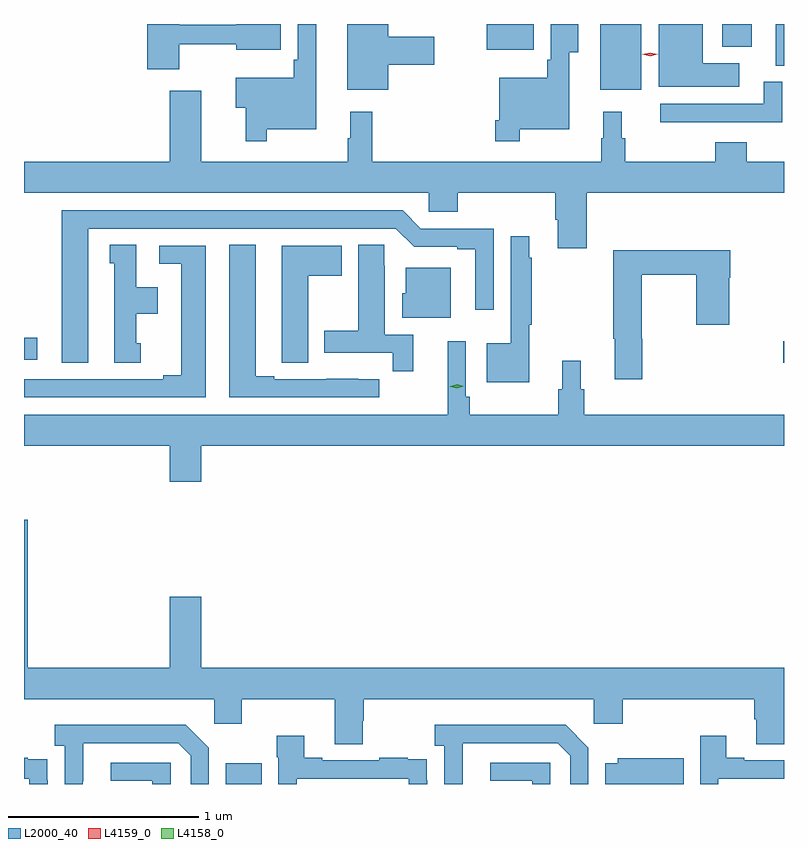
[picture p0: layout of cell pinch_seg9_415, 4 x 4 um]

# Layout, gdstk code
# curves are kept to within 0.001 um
import gdstk
lib = gdstk.Library(unit=1e-6, precision=1e-09)
def R(c, l, rs):  # rectangles x0, y0, x1, y1
    for r in rs: c.add(gdstk.rectangle(r[:2], r[2:], *l))
def P(c, l, *ps):  # polygons
    for p in ps: c.add(gdstk.Polygon(p, *l))
L2000_40 = (2000, 40)
L4158_0 = (4158, 0)
L4159_0 = (4159, 0)

pinch_seg9_415 = lib.new_cell('pinch_seg9_415')
R(pinch_seg9_415, L2000_40, [(213.254,1214.621,213.442,1214.731), (216.188,1216.839,216.192,1216.951), (212.192,1216.854,212.263,1216.97), (215.225,1218.275,215.44,1218.621), (216.149,1218.401,216.192,1218.621), (214.628,1218.485,214.876,1218.621), (215.867,1218.5,216.022,1218.621)])
P(pinch_seg9_415, L2000_40, [(215.956,1218.415),(215.764,1218.415),(215.764,1218.621),(215.534,1218.621),(215.534,1218.29),(215.956,1218.29)],
  [(214.801,1218.068),(215.062,1218.068),(215.062,1218.473),(215.11,1218.473),(215.11,1218.621),(214.965,1218.621),(214.965,1218.433),(214.945,1218.433),(214.945,1218.337),(214.692,1218.337),(214.692,1218.115),(214.672,1218.115),(214.672,1218.003),(214.801,1218.003)],
  [(213.469,1218.068),(213.73,1218.068),(213.73,1218.621),(213.633,1218.621),(213.633,1218.433),(213.613,1218.433),(213.613,1218.337),(213.306,1218.337),(213.306,1218.179),(213.358,1218.179),(213.358,1218.003),(213.469,1218.003)],
  [(214.108,1218.407),(214.351,1218.407),(214.351,1218.554),(214.108,1218.554),(214.108,1218.621),(213.893,1218.621),(213.893,1218.275),(214.108,1218.275)],
  [(213.01,1218.514),(213.308,1218.514),(213.308,1218.485),(213.544,1218.485),(213.544,1218.621),(213.308,1218.621),(213.308,1218.617),(213.01,1218.617),(213.01,1218.621),(212.84,1218.621),(212.84,1218.384),(213.01,1218.384)],
  [(216.184,1218.316),(216.086,1218.316),(216.086,1218.201),(215.541,1218.201),(215.541,1218.105),(216.184,1218.105)],
  [(215.153,1217.732),(216.192,1217.732),(216.192,1217.896),(215.996,1217.896),(215.996,1217.998),(215.831,1217.998),(215.831,1217.896),(215.357,1217.896),(215.357,1218.02),(215.339,1218.02),(215.339,1218.16),(215.24,1218.16),(215.24,1218.02),(215.229,1218.02),(215.229,1217.896),(214.025,1217.896),(214.025,1218.16),(213.908,1218.16),(213.908,1218.02),(213.897,1218.02),(213.897,1217.896),(213.124,1217.896),(213.124,1218.271),(212.96,1218.271),(212.96,1217.896),(212.192,1217.896),(212.192,1217.732),(214.323,1217.732),(214.323,1217.634),(214.475,1217.634),(214.475,1217.732),(214.988,1217.732),(214.988,1217.59),(215,1217.59),(215,1217.442),(215.153,1217.442)],
  [(212.53,1217.544),(214.149,1217.544),(214.245,1217.448),(214.472,1217.448),(214.472,1217.436),(214.568,1217.436),(214.568,1217.118),(214.665,1217.118),(214.665,1217.544),(214.281,1217.544),(214.185,1217.64),(212.39,1217.64),(212.39,1216.839),(212.53,1216.839)],
  [(214.852,1217.038),(214.864,1217.038),(214.864,1217.39),(214.852,1217.39),(214.852,1217.503),(214.755,1217.503),(214.755,1216.942),(214.628,1216.942),(214.628,1216.736),(214.852,1216.736)],
  [(214.063,1216.752),(213.95,1216.752),(213.95,1216.753),(213.784,1216.753),(213.784,1216.752),(213.508,1216.752),(213.508,1216.767),(213.412,1216.767),(213.412,1217.459),(213.272,1217.459),(213.272,1216.656),(214.063,1216.656)],
  [(214.241,1216.986),(214.09,1216.986),(214.09,1217.348),(214.089,1217.348),(214.089,1217.459),(213.95,1217.459),(213.95,1217.007),(213.773,1217.007),(213.773,1216.89),(214.132,1216.89),(214.132,1216.794),(214.241,1216.794)],
  [(212.806,1216.941),(212.782,1216.941),(212.782,1217.096),(212.896,1217.096),(212.896,1217.236),(212.782,1217.236),(212.782,1217.459),(212.642,1217.459),(212.642,1217.361),(212.666,1217.361),(212.666,1216.839),(212.806,1216.839)],
  [(213.688,1217.296),(213.865,1217.296),(213.865,1217.455),(213.548,1217.455),(213.548,1216.945),(213.549,1216.945),(213.549,1216.837),(213.688,1216.837)],
  [(213.148,1217.454),(212.904,1217.454),(212.904,1217.358),(213.02,1217.358),(213.02,1216.772),(212.924,1216.772),(212.924,1216.752),(212.192,1216.752),(212.192,1216.656),(213.148,1216.656)],
  [(215.447,1216.964),(215.442,1216.964),(215.442,1217.302),(215.731,1217.302),(215.731,1217.037),(215.904,1217.037),(215.904,1217.285),(215.909,1217.285),(215.909,1217.431),(215.293,1217.431),(215.293,1216.964),(215.3,1216.964),(215.3,1216.752),(215.447,1216.752)],
  [(214.438,1217.338),(214.202,1217.338),(214.202,1217.205),(214.184,1217.205),(214.184,1217.075),(214.438,1217.075)],
  [(213.124,1216.4),(216.192,1216.4),(216.192,1216.564),(215.141,1216.564),(215.141,1216.698),(215.122,1216.698),(215.122,1216.849),(215.024,1216.849),(215.024,1216.698),(215.005,1216.698),(215.005,1216.564),(214.538,1216.564),(214.538,1216.66),(214.518,1216.66),(214.518,1216.951),(214.421,1216.951),(214.421,1216.564),(212.192,1216.564),(212.192,1216.4),(212.96,1216.4),(212.96,1216.212),(213.124,1216.212)],
  [(213.975,1214.955),(213.98,1214.955),(213.98,1215.068),(215.19,1215.068),(215.19,1214.937),(215.342,1214.937),(215.342,1215.068),(216.035,1215.068),(216.035,1214.962),(216.047,1214.962),(216.047,1214.83),(216.192,1214.83),(216.192,1215.232),(213.124,1215.232),(213.124,1215.607),(212.96,1215.607),(212.96,1215.232),(212.213,1215.232),(212.213,1216.011),(212.192,1216.011),(212.192,1215.068),(213.192,1215.068),(213.192,1214.937),(213.339,1214.937),(213.339,1215.068),(213.827,1215.068),(213.827,1214.83),(213.975,1214.83)],
  [(214.5,1214.635),(214.501,1214.835),(215.001,1214.835),(215.067,1214.769),(215.067,1214.621),(215.163,1214.621),(215.163,1214.811),(215.042,1214.932),(214.353,1214.932),(214.353,1214.822),(214.404,1214.822),(214.404,1214.621),(214.5,1214.621)],
  [(212.502,1214.635),(212.503,1214.835),(213.003,1214.835),(213.069,1214.769),(213.069,1214.621),(213.165,1214.621),(213.165,1214.811),(213.044,1214.932),(212.355,1214.932),(212.355,1214.822),(212.406,1214.822),(212.406,1214.621),(212.502,1214.621)],
  [(215.847,1214.649),(216.192,1214.649),(216.192,1214.745),(215.983,1214.745),(215.983,1214.758),(215.887,1214.758),(215.887,1214.875),(215.751,1214.875),(215.751,1214.621),(215.847,1214.621)],
  [(213.627,1214.649),(214.218,1214.649),(214.218,1214.621),(214.314,1214.621),(214.314,1214.642),(214.313,1214.642),(214.313,1214.751),(214.211,1214.751),(214.211,1214.758),(214.063,1214.758),(214.063,1214.745),(213.763,1214.745),(213.763,1214.758),(213.667,1214.758),(213.667,1214.875),(213.523,1214.875),(213.523,1214.762),(213.531,1214.762),(213.531,1214.621),(213.627,1214.621)],
  [(212.316,1214.642),(212.315,1214.642),(212.315,1214.751),(212.213,1214.751),(212.213,1214.758),(212.192,1214.758),(212.192,1214.649),(212.22,1214.649),(212.22,1214.621),(212.316,1214.621)],
  [(215.665,1214.757),(215.316,1214.757),(215.316,1214.731),(215.252,1214.731),(215.252,1214.621),(215.665,1214.621)],
  [(212.964,1214.733),(212.649,1214.733),(212.649,1214.637),(212.868,1214.637),(212.868,1214.621),(212.964,1214.621)],
  [(214.962,1214.733),(214.647,1214.733),(214.647,1214.637),(214.866,1214.637),(214.866,1214.621),(214.962,1214.621)])
P(pinch_seg9_415, L4158_0, [(214.471,1216.704),(214.435,1216.713),(214.435,1216.713),(214.435,1216.714),(214.471,1216.724),(214.507,1216.715),(214.507,1216.715),(214.507,1216.714)])
P(pinch_seg9_415, L4159_0, [(215.487,1218.451),(215.447,1218.461),(215.446,1218.461),(215.447,1218.462),(215.487,1218.471),(215.528,1218.462),(215.528,1218.461),(215.528,1218.461)])

lib.write_gds('pinch_seg9_415.gds')
